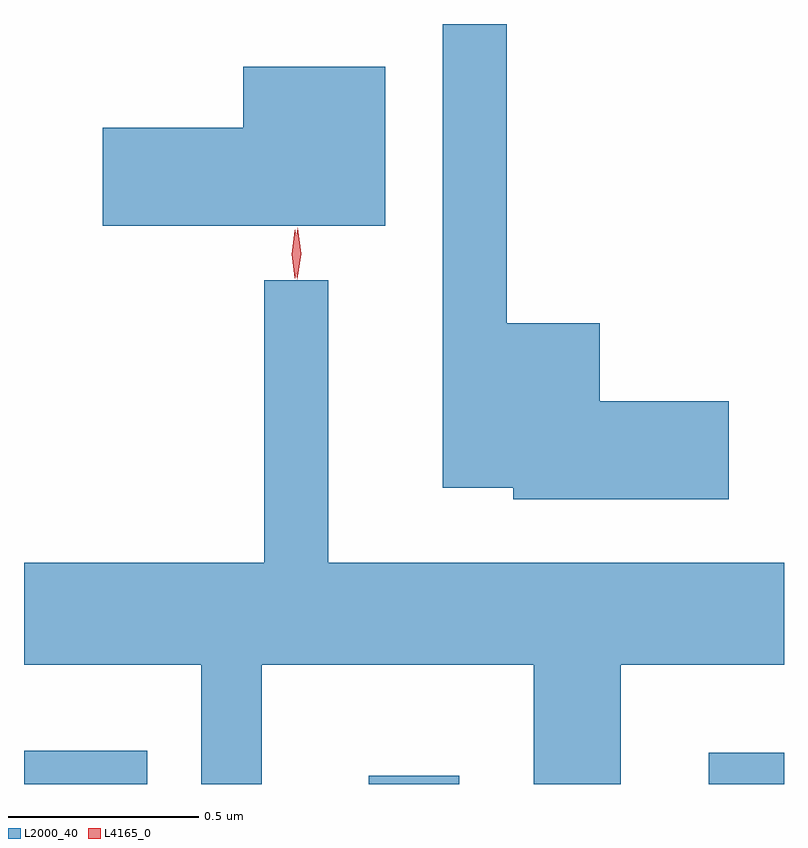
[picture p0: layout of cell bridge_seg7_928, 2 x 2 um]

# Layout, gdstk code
import gdstk
lib = gdstk.Library(unit=1e-6, precision=1e-09)
def R(c, l, rs):  # rectangles x0, y0, x1, y1
    for r in rs: c.add(gdstk.rectangle(r[:2], r[2:], *l))
def P(c, l, *ps):  # polygons
    for p in ps: c.add(gdstk.Polygon(p, *l))
L2000_40 = (2000, 40)
L4165_0 = (4165, 0)

bridge_seg7_928 = lib.new_cell('bridge_seg7_928')
R(bridge_seg7_928, L2000_40, [(558.449,1718.442,558.773,1718.529), (559.356,1718.442,559.594,1718.464), (560.251,1718.442,560.449,1718.524)])
P(bridge_seg7_928, L2000_40, [(560.304,1719.449),(559.964,1719.449),(559.964,1719.654),(559.719,1719.654),(559.719,1720.442),(559.551,1720.442),(559.551,1719.221),(559.736,1719.221),(559.736,1719.191),(560.304,1719.191)],
  [(559.399,1720.329),(559.026,1720.329),(559.026,1720.169),(558.656,1720.169),(558.656,1719.911),(559.399,1719.911)],
  [(559.074,1718.756),(559.791,1718.756),(559.791,1718.442),(560.019,1718.442),(560.019,1718.756),(560.449,1718.756),(560.449,1719.024),(559.249,1719.024),(559.249,1719.768),(559.081,1719.768),(559.081,1719.024),(558.449,1719.024),(558.449,1718.756),(558.916,1718.756),(558.916,1718.442),(559.074,1718.442)])
P(bridge_seg7_928, L4165_0, [(559.162,1719.773),(559.153,1719.836),(559.162,1719.899),(559.163,1719.9),(559.163,1719.899),(559.173,1719.836),(559.163,1719.773),(559.163,1719.773)],
  [(559.168,1719.77),(559.168,1719.77),(559.159,1719.838),(559.169,1719.905),(559.169,1719.906),(559.17,1719.905),(559.179,1719.838),(559.168,1719.77)])

lib.write_gds('bridge_seg7_928.gds')
